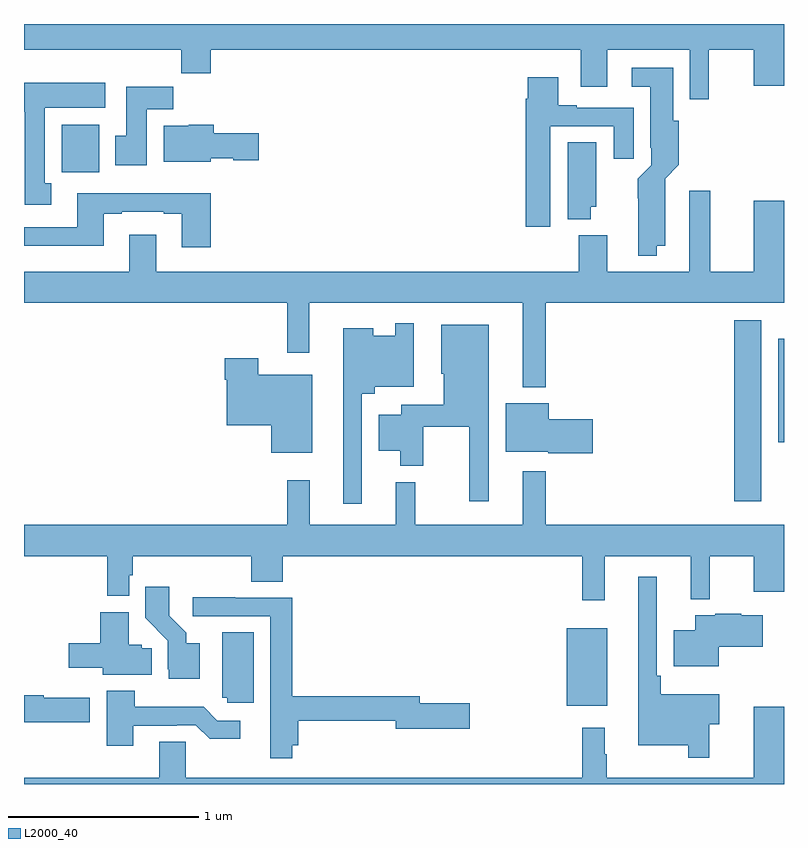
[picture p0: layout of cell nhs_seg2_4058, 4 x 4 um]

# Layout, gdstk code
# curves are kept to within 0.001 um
import gdstk
lib = gdstk.Library(unit=1e-6, precision=1e-09)
def R(c, l, rs):  # rectangles x0, y0, x1, y1
    for r in rs: c.add(gdstk.rectangle(r[:2], r[2:], *l))
def P(c, l, *ps):  # polygons
    for p in ps: c.add(gdstk.Polygon(p, *l))
L2000_40 = (2000, 40)

nhs_seg2_4058 = lib.new_cell('nhs_seg2_4058')
R(nhs_seg2_4058, L2000_40, [(331.856,616.211,332.071,616.621), (332.738,617.289,332.881,618.241), (332.97,617.598,333,618.144), (329.199,619.02,329.395,619.27)])
P(nhs_seg2_4058, L2000_40, [(332.604,619.664),(332.84,619.664),(332.84,619.476),(333,619.476),(333,619.8),(329,619.8),(329,619.664),(329.827,619.664),(329.827,619.54),(329.984,619.54),(329.984,619.664),(331.931,619.664),(331.931,619.47),(332.071,619.47),(332.071,619.664),(332.505,619.664),(332.505,619.404),(332.604,619.404)],
  [(332.329,618.632),(332.374,618.632),(332.375,618.986),(332.447,619.058),(332.447,619.29),(332.416,619.29),(332.416,619.57),(332.199,619.57),(332.199,619.469),(332.297,619.469),(332.297,619.15),(332.301,619.15),(332.301,619.056),(332.231,618.986),(332.232,618.581),(332.329,618.581)],
  [(331.771,619.263),(332.105,619.263),(332.105,619.092),(332.209,619.092),(332.209,619.359),(331.909,619.359),(331.909,619.372),(331.813,619.372),(331.813,619.519),(331.652,619.519),(331.652,619.406),(331.64,619.406),(331.64,618.732),(331.771,618.732)],
  [(329.143,618.961),(329.11,618.961),(329.11,619.358),(329.428,619.358),(329.428,619.492),(329,619.492),(329,619.338),(329.003,619.338),(329.003,618.849),(329.143,618.849)],
  [(329.647,619.352),(329.786,619.352),(329.786,619.471),(329.537,619.471),(329.537,619.212),(329.48,619.212),(329.48,619.056),(329.647,619.056)],
  [(329.982,619.094),(330.102,619.094),(330.102,619.082),(330.235,619.082),(330.235,619.224),(329.999,619.224),(329.999,619.27),(329.868,619.27),(329.868,619.264),(329.735,619.264),(329.735,619.076),(329.982,619.076)],
  [(331.984,618.837),(332.011,618.837),(332.011,619.178),(331.862,619.178),(331.862,618.773),(331.984,618.773)],
  [(331.747,618.332),(333,618.332),(333,618.871),(332.84,618.871),(332.84,618.496),(332.611,618.496),(332.611,618.922),(332.501,618.922),(332.501,618.496),(332.071,618.496),(332.071,618.688),(331.919,618.688),(331.919,618.496),(329.695,618.496),(329.695,618.691),(329.555,618.691),(329.555,618.496),(329,618.496),(329,618.332),(330.385,618.332),(330.385,618.069),(330.502,618.069),(330.502,618.332),(331.625,618.332),(331.625,617.888),(331.747,617.888)],
  [(329.984,618.91),(329.279,618.91),(329.279,618.729),(329,618.729),(329,618.632),(329.419,618.632),(329.419,618.801),(329.515,618.801),(329.515,618.813),(329.735,618.813),(329.735,618.801),(329.831,618.801),(329.831,618.624),(329.984,618.624)],
  [(330.777,617.855),(330.846,617.855),(330.846,617.891),(331.05,617.891),(331.05,618.226),(330.954,618.226),(330.954,618.16),(330.838,618.16),(330.838,618.199),(330.68,618.199),(330.68,617.274),(330.777,617.274)],
  [(331.447,618.217),(331.196,618.217),(331.196,617.958),(331.208,617.958),(331.208,617.797),(330.986,617.797),(330.986,617.743),(330.866,617.743),(330.866,617.555),(330.98,617.555),(330.98,617.474),(331.102,617.474),(331.102,617.68),(331.343,617.68),(331.343,617.289),(331.447,617.289)],
  [(330.517,617.953),(330.234,617.953),(330.234,618.04),(330.056,618.04),(330.056,617.927),(330.068,617.927),(330.068,617.687),(330.302,617.687),(330.302,617.543),(330.517,617.543)],
  [(331.993,617.72),(331.762,617.72),(331.762,617.803),(331.535,617.803),(331.535,617.549),(331.758,617.549),(331.758,617.542),(331.993,617.542)],
  [(331.939,616.767),(332.057,616.767),(332.057,617),(332.51,617),(332.51,616.772),(332.61,616.772),(332.61,617),(332.84,617),(332.84,616.812),(333,616.812),(333,617.164),(331.747,617.164),(331.747,617.446),(331.625,617.446),(331.625,617.164),(331.058,617.164),(331.058,617.389),(330.956,617.389),(330.956,617.164),(330.503,617.164),(330.503,617.398),(330.385,617.398),(330.385,617.164),(329,617.164),(329,617),(329.437,617),(329.437,616.79),(329.553,616.79),(329.553,616.899),(329.573,616.899),(329.573,617),(330.197,617),(330.197,616.864),(330.362,616.864),(330.362,617),(331.939,617)],
  [(332.607,616.115),(332.659,616.115),(332.659,616.273),(332.351,616.273),(332.351,616.369),(332.331,616.369),(332.331,616.891),(332.234,616.891),(332.234,616.004),(332.496,616.004),(332.496,615.939),(332.607,615.939)],
  [(329.926,616.54),(329.854,616.54),(329.854,616.595),(329.764,616.685),(329.764,616.837),(329.638,616.837),(329.638,616.674),(329.757,616.555),(329.757,616.404),(329.762,616.404),(329.762,616.355),(329.926,616.355)],
  [(330.413,616.004),(330.443,616.004),(330.443,616.134),(330.956,616.134),(330.956,616.091),(331.345,616.091),(331.345,616.226),(331.084,616.226),(331.084,616.262),(330.413,616.262),(330.413,616.779),(330.113,616.779),(330.113,616.782),(329.889,616.782),(329.889,616.683),(330.297,616.683),(330.297,615.936),(330.413,615.936)],
  [(329.672,616.514),(329.619,616.514),(329.619,616.533),(329.551,616.533),(329.551,616.705),(329.402,616.705),(329.402,616.542),(329.235,616.542),(329.235,616.412),(329.414,616.412),(329.414,616.376),(329.672,616.376)],
  [(332.656,616.522),(332.887,616.522),(332.887,616.687),(332.774,616.687),(332.774,616.695),(332.638,616.695),(332.638,616.687),(332.534,616.687),(332.534,616.609),(332.42,616.609),(332.42,616.421),(332.656,616.421)],
  [(330.208,616.598),(330.044,616.598),(330.044,616.254),(330.069,616.254),(330.069,616.227),(330.208,616.227)],
  [(329.575,616.107),(329.804,616.107),(329.804,616.11),(329.904,616.11),(329.977,616.037),(330.139,616.037),(330.139,616.134),(330.018,616.134),(329.945,616.207),(329.583,616.207),(329.583,616.291),(329.435,616.291),(329.435,616.002),(329.575,616.002)],
  [(329.347,616.255),(329.103,616.255),(329.103,616.268),(329,616.268),(329,616.126),(329.347,616.126)],
  [(333,616.207),(332.84,616.207),(332.84,615.832),(332.068,615.832),(332.068,615.956),(332.056,615.956),(332.056,616.096),(331.939,616.096),(331.939,615.832),(329.85,615.832),(329.85,616.022),(329.711,616.022),(329.711,615.832),(329,615.832),(329,615.8),(333,615.8)])

lib.write_gds('nhs_seg2_4058.gds')
